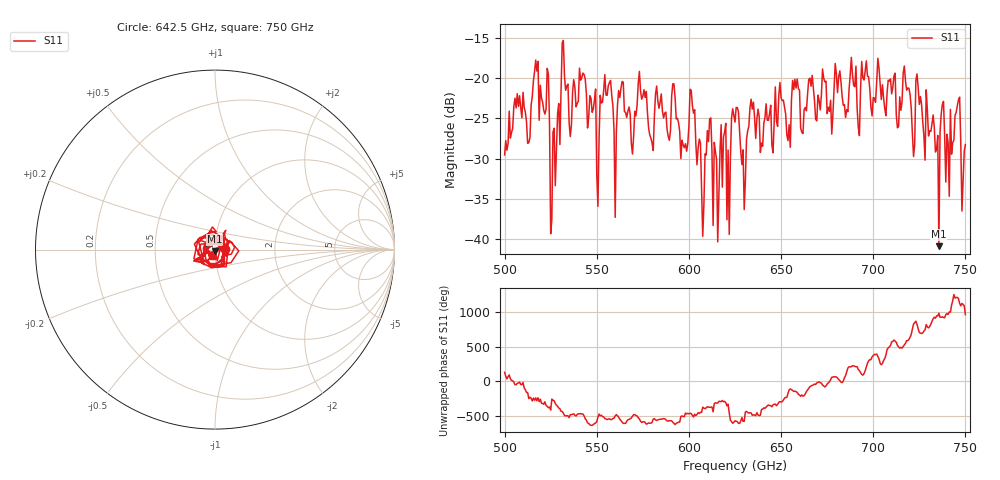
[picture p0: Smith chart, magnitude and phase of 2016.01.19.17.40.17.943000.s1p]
!Created with skrf (http://scikit-rf.org).
# GHz S RI R 50.0
!freq ReS11 ImS11
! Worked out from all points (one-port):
!   401 points, 500 GHz to 750 GHz, reference 50 ohm
!   lowest |S11| = -40.9 dB at 735.6 GHz (marker M1), VSWR 1.02, Z = 49.9 - j0.895 ohm
!   |S11| at or under -10 dB: start of sweep to end of sweep
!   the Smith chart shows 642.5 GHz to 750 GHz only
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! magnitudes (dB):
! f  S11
! 500 GHz  -29.6
! 506.9 GHz  -21.9
! 513.1 GHz  -28.0
! 516.9 GHz  -17.8
! 523.1 GHz  -18.8
! 526.2 GHz  -26.7
! 531.2 GHz  -15.6
! 541.9 GHz  -19.9
! 551.2 GHz  -27.5
! 553.1 GHz  -23.0
! 560 GHz  -37.3
! 562.5 GHz  -22.4
! 593.8 GHz  -25.0
! 601.9 GHz  -23.4
! 608.1 GHz  -35.7
! 611.2 GHz  -25.1
! 614.4 GHz  -29.1
! 618.8 GHz  -27.4
! 621.9 GHz  -39.4
! 625 GHz  -25.5
! 629.4 GHz  -28.9
! 634.4 GHz  -23.9
! 656.2 GHz  -20.3
! 687.5 GHz  -19.6
! 718.8 GHz  -21.2
! 735.6 GHz  -40.9
! 745.6 GHz  -23.4
! 750 GHz  -28.3
